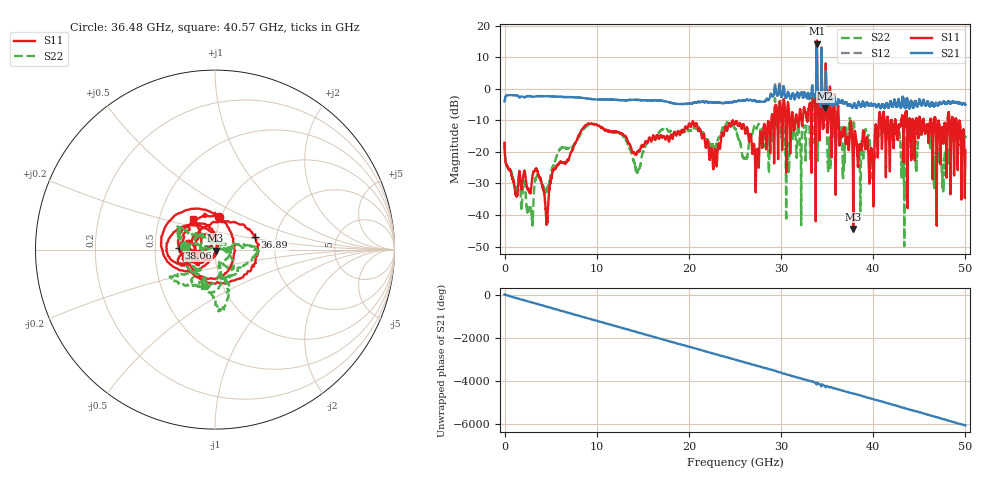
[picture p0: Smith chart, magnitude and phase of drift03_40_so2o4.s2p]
!Created with skrf (http://scikit-rf.org).
# Hz S RI R 50.0
!freq ReS11 ImS11 ReS21 ImS21 ReS12 ImS12 ReS22 ImS22
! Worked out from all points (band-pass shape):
!   10001 points, 300 kHz to 50 GHz, reference 50 ohm
!   highest |S21| = 14.36 dB at 33.88 GHz (marker M1); lowest = -6.2 dB at 34.8 GHz (marker M2)
!   |S21| within 3 dB of the highest: 33.86913 GHz to 33.88845 GHz (19.32 MHz wide, 0.057 % of centre); 34.37712 GHz to 34.3893 GHz (12.17 MHz wide, 0.0354 % of centre)
!   lowest |S11| = -44.4 dB at 37.83 GHz (marker M3), VSWR 1.01, Z = 50.3 - j0.522 ohm
!   |S11| at or under -10 dB: start of sweep to 28.94 GHz; 36.27 GHz to 40.61 GHz (4.34 GHz wide, 11.3 % of centre); 46.75 GHz to 48.08 GHz (1.327 GHz wide, 2.8 % of centre) (the widest 3 of 57)
!   |S22| runs from -49.9 to 11.1 dB; largest |S21 - S12| = 0.82
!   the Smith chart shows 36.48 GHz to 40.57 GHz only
!   S11 on the Smith chart (normalised r, x): 36.48 GHz: 0.98, +0.36; 36.89 GHz: 1.55, +0.23; 38.06 GHz: 0.67, +0.01; 40.57 GHz: 0.74, +0.27
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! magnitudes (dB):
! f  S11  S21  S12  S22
! 300 kHz  -17.1  -4.0  -4.0  -16.8
! 2.825 GHz  -32.6  -2.4  -2.4  -38.3
! 4.565 GHz  -42.3  -2.3  -2.3  -32.3
! 8.335 GHz  -13.1  -2.8  -2.8  -13.9
! 14.43 GHz  -20.0  -3.5  -3.5  -26.2
! 16.67 GHz  -15.4  -3.7  -3.7  -14.3
! 22.82 GHz  -19.3  -4.3  -4.3  -19.1
! 25 GHz  -11.0  -4.0  -4.0  -12.5
! 27.39 GHz  -19.4  -4.1  -4.1  -12.4
! 29.6 GHz  -10.4  -2.0  -2.1  -11.7
! 30.7 GHz  -5.6  -1.4  -1.5  -17.1
! 33.34 GHz  -13.8  -0.4  -0.5  -7.1
! 33.88 GHz  15.3  14.4  14.1  10.9
! 34.8 GHz  -2.2  -6.2  -4.8  -8.7
! 36.48 GHz  -14.9  -4.3  -4.4  -15.2
! 36.89 GHz  -12.6  -4.6  -4.5  -20.7
! 37.83 GHz  -44.4  -5.5  -5.5  -11.1
! 38.06 GHz  -13.9  -5.3  -5.3  -17.3
! 40.57 GHz  -13.5  -4.9  -5.0  -13.4
! 41.67 GHz  -12.2  -6.0  -6.0  -15.2
! 47.57 GHz  -15.7  -4.4  -4.3  -30.4
! 50 GHz  -19.5  -4.9  -4.9  -15.2
